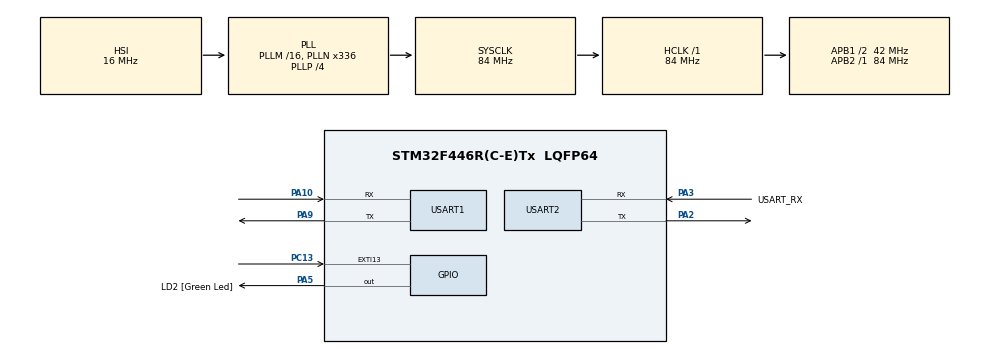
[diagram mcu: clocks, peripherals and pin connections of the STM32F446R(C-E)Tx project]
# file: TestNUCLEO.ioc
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Mcu.Family=STM32F4
Mcu.Name=STM32F446R(C-E)Tx
Mcu.Package=LQFP64
NVIC.EXTI15_10_IRQn=true\:0\:0\:false\:false\:true\:true\:true\:true
NVIC.PriorityGroup=NVIC_PRIORITYGROUP_0
NVIC.USART1_IRQn=true\:0\:0\:false\:false\:true\:true\:true\:true
NVIC.USART2_IRQn=true\:0\:0\:false\:false\:true\:true\:true\:true
PA10.Mode=Asynchronous
PA10.Signal=USART1_RX
PA13.GPIO_Label=TMS
PA13.Signal=SYS_JTMS-SWDIO
PA14.GPIO_Label=TCK
PA14.Signal=SYS_JTCK-SWCLK
PA2.Mode=Asynchronous
PA2.Signal=USART2_TX
PA3.GPIO_Label=USART_RX
PA3.Mode=Asynchronous
PA3.Signal=USART2_RX
PA5.GPIO_Label=LD2 [Green Led]
PA5.Signal=GPIO_Output
PA9.Mode=Asynchronous
PA9.Signal=USART1_TX
PB3.GPIO_Label=SWO
PB3.Signal=SYS_JTDO-SWO
PC13.Signal=GPXTI13
PC14-OSC32_IN.Signal=RCC_OSC32_IN
PC15-OSC32_OUT.Signal=RCC_OSC32_OUT
PH0-OSC_IN.Signal=RCC_OSC_IN
PH1-OSC_OUT.Signal=RCC_OSC_OUT
ProjectManager.HeapSize=0x200
ProjectManager.StackSize=0x400
ProjectManager.TargetToolchain=CMake
RCC.AHBFreq_Value=84000000
RCC.APB1CLKDivider=RCC_HCLK_DIV2
RCC.APB1Freq_Value=42000000
RCC.APB1TimFreq_Value=84000000
RCC.APB2Freq_Value=84000000
RCC.APB2TimFreq_Value=84000000
RCC.CortexFreq_Value=84000000
RCC.FLatency-AdvancedSettings=FLASH_LATENCY_2
RCC.HCLKFreq_Value=84000000
RCC.HSE_VALUE=8000000
RCC.HSI_VALUE=16000000
RCC.LSE_VALUE=32768
RCC.PLLN=336
RCC.PLLP=RCC_PLLP_DIV4
RCC.SYSCLKFreq_VALUE=84000000
RCC.SYSCLKSource=RCC_SYSCLKSOURCE_PLLCLK
RCC.USBFreq_Value=168000000
RCC.VCOOutputFreq_Value=336000000
USART1.VirtualMode=VM_ASYNC
USART2.VirtualMode=VM_ASYNC
board=NUCLEO-F446RE

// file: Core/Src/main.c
/* USER CODE BEGIN Header */
/**
  ******************************************************************************
  * @file           : main.c
  * @brief          : Main program body
  ******************************************************************************
  */
/* USER CODE END Header */
#include "main.h"

/* USER CODE BEGIN Includes */
#include "icd.h"
#include <string.h>
#include <stdio.h>
/* USER CODE END Includes */

/* USER CODE BEGIN PTD */
typedef enum {
    NODE_ROLE_UNASSIGNED = 0,
    NODE_ROLE_MASTER,
    NODE_ROLE_SLAVE,
    NODE_ROLE_LAST_SLAVE
} NodeRole_t;

typedef enum {
    LED_MODE_WAIT_INIT, // Clignote lentement
    LED_MODE_SYNC,      // Allumee
    LED_MODE_ERROR      // Clignote vite
} LedState_t;
/* USER CODE END PTD */

UART_HandleTypeDef huart1;
UART_HandleTypeDef huart2;

/* USER CODE BEGIN PV */
// Etat du noeud par défaut, on clignote en attendant, la clé 0 etc..
NodeRole_t current_role = NODE_ROLE_UNASSIGNED;
LedState_t current_led_mode = LED_MODE_WAIT_INIT;
uint32_t   current_key = 0;
uint32_t   my_id = HAL_GetUIDw0();; // ID de la carte, à changer pour prendre le vrai ID

// Compteur du bouton
volatile uint8_t  button_press_count = 0;
volatile uint32_t last_button_time = 0;

// Octets recus en interruption
uint8_t rx1_byte;
uint8_t rx2_byte;

// Buffers separes pour les deux UART
static uint8_t rx1_buffer[sizeof(ProtocolMessage_t)];
static uint8_t rx1_index = 0;
static uint8_t rx1_receiving = 0;

static uint8_t rx2_buffer[sizeof(ProtocolMessage_t)];
static uint8_t rx2_index = 0;
static uint8_t rx2_receiving = 0;
/* USER CODE END PV */

void SystemClock_Config(void);
static void MX_GPIO_Init(void);
static void MX_USART2_UART_Init(void);
static void MX_USART1_UART_Init(void);
/* USER CODE BEGIN PFP */
uint16_t compute_crc16(const uint8_t *data, uint16_t length);
void xor_cipher(uint8_t *payload, uint8_t len, uint32_t key);
void process_received_frame(ProtocolMessage_t *msg, UART_HandleTypeDef *source_huart);
/* USER CODE END PFP */

/* USER CODE BEGIN 0 */
// fonction crc16 générée à l'aide de l'ia, fonction générique de checksum
uint16_t compute_crc16(const uint8_t *data, uint16_t length) {
    uint16_t crc = 0xFFFF;
    for (uint16_t i = 0; i < length; i++) {
        crc ^= (uint16_t)data[i] << 8;
        for (uint8_t j = 0; j < 8; j++) {
            if (crc & 0x8000)
                crc = (crc << 1) ^ 0x1021;
            else
                crc = crc << 1;
        }
    }
    return crc;
}

// généré à l'aide de l'ia, pour cryptage
void xor_cipher(uint8_t *payload, uint8_t len, uint32_t key) {
    uint8_t key_bytes[4];
    key_bytes[0] = (uint8_t)(key & 0xFF);
    key_bytes[1] = (uint8_t)((key >> 8) & 0xFF);
    key_bytes[2] = (uint8_t)((key >> 16) & 0xFF);
    key_bytes[3] = (uint8_t)((key >> 24) & 0xFF);

    for (uint8_t i = 0; i < len; i++) {
        payload[i] ^= key_bytes[i % 4];
    }
}

//Fonction pour recevoir les trames reçu
void process_received_frame(ProtocolMessage_t *msg, UART_HandleTypeDef *source_huart) {
    uint16_t expected_len = sizeof(ProtocolMessage_t) - sizeof(uint16_t);
    uint16_t local_crc = compute_crc16((uint8_t*)msg, expected_len);

    // Verifie le CRC des messages UART1 -> vérifier l'intégrité du message
    if (source_huart == &huart1) {
        if (local_crc != msg->crc) {
            current_led_mode = LED_MODE_ERROR; // Erreur CRC, clignotement rapide
            return;
        }
    }

    switch (msg->header.command_type) {
        case CMD_INIT:
            if (msg->header.id_src == DEFAULT_ID) {
                // cas ou on est master, car on reçoit un message avec src_id 0x00
                current_role = NODE_ROLE_MASTER;
                current_key = HAL_GetTick() ^ 0xA5A5A5A5;
                if (current_key == 0) current_key = 0x12345678;
                current_led_mode = LED_MODE_SYNC;

                // Propagation de l'INIT vers la carte suivante
                ProtocolMessage_t out_msg;
                memset(&out_msg, 0, sizeof(out_msg));
                out_msg.header.start_byte = ICD_START_BYTE;
                out_msg.header.command_type = CMD_INIT;
                out_msg.header.id_src = my_id;
                out_msg.header.length = 4;
                memcpy(out_msg.payload, &current_key, 4);
                out_msg.crc = compute_crc16((uint8_t*)&out_msg, expected_len);
                HAL_UART_Transmit(&huart1, (uint8_t*)&out_msg, sizeof(out_msg), 100);
            }
            else {
                // --- ESCLAVE (Réception de l'INIT) ---
                // On suppose qu'on est le DERNIER par défaut (car c'est plus simple)
                current_role = NODE_ROLE_LAST_SLAVE;
                memcpy(&current_key, msg->payload, 4);
                current_led_mode = LED_MODE_SYNC;

                // On répond un ACK au noeud précédent pour confirmer la synchro
                ProtocolMessage_t ack_msg;
                memset(&ack_msg, 0, sizeof(ack_msg));
                ack_msg.header.start_byte = ICD_START_BYTE;
                ack_msg.header.command_type = CMD_ACK;
                ack_msg.header.id_src = my_id;
                ack_msg.crc = compute_crc16((uint8_t*)&ack_msg, expected_len);
                HAL_UART_Transmit(source_huart, (uint8_t*)&ack_msg, sizeof(ack_msg), 100);

                // On propage l'INIT vers l'avant (pour interroger s'il y a un noeud suivant)
                msg->header.id_src = my_id;
                msg->crc = compute_crc16((uint8_t*)msg, expected_len);
                HAL_UART_Transmit(&huart1, (uint8_t*)msg, sizeof(ProtocolMessage_t), 100);
            }
            break;

        case CMD_MSG: // ici on vérifie si on est la derniere carte ou pas, en envoyant un message au noeud suivant
                    // si retour ACK avec id null => pc donc on est le dernier noeud, sinon il y a encore des cartes derriere
            // MAÎTRE : Reçoit le texte en clair du PC, chiffre et relaye
            if (source_huart == &huart2 && current_role == NODE_ROLE_MASTER) {
                xor_cipher(msg->payload, msg->header.length, current_key);
                msg->header.id_src = my_id;
                msg->crc = compute_crc16((uint8_t*)msg, expected_len);
                HAL_UART_Transmit(&huart1, (uint8_t*)msg, sizeof(ProtocolMessage_t), 100);
            }
            // DERNIER ESCLAVE : Déchiffre et envoie vers le PC OUT
            else if (source_huart == &huart1 && current_role == NODE_ROLE_LAST_SLAVE) {
                xor_cipher(msg->payload, msg->header.length, current_key); // Déchiffrement

                char log_buffer[64];
                snprintf(log_buffer, sizeof(log_buffer), "\r\n[PC OUT RECU] : %.*s\r\n",
                         msg->header.length, msg->payload);
                HAL_UART_Transmit(&huart2, (uint8_t*)log_buffer, strlen(log_buffer), 100);
            }
            // ESCLAVE INTERMÉDIAIRE : Relaye le message chiffré sans le déchiffrer
            else if (source_huart == &huart1 && current_role == NODE_ROLE_SLAVE) {
                msg->header.id_src = my_id;
                // /!\ On ne déchiffre PAS le payload
                msg->crc = compute_crc16((uint8_t*)msg, expected_len);
                HAL_UART_Transmit(&huart1, (uint8_t*)msg, sizeof(ProtocolMessage_t), 100);
            }

            // Quel que soit le type d'esclave, on accuse réception au noeud N-1
            if (source_huart == &huart1) {
                ProtocolMessage_t ack_msg;
                memset(&ack_msg, 0, sizeof(ack_msg));
                ack_msg.header.start_byte = ICD_START_BYTE;
                ack_msg.header.command_type = CMD_ACK;
                ack_msg.header.id_src = my_id;
                ack_msg.crc = compute_crc16((uint8_t*)&ack_msg, expected_len);
                HAL_UART_Transmit(&huart1, (uint8_t*)&ack_msg, sizeof(ack_msg), 100);
            }
            break;

            case CMD_ACK:
            // L'interrogation : On a reçu une réponse du noeud suivant !
            if (current_role == NODE_ROLE_LAST_SLAVE) {
                if (msg->header.id_src != DEFAULT_ID) {
                    // Une vraie carte a répondu avec son ID : on n'est donc PAS le dernier !
                    current_role = NODE_ROLE_SLAVE;
                }
            }
            break;

        default:
            break;
    }
}
/* USER CODE END 0 */

int main(void)
{
  /* MCU Configuration--------------------------------------------------------*/
  HAL_Init();
  SystemClock_Config();

  /* Initialize all configured peripherals */
  MX_GPIO_Init();
  MX_USART2_UART_Init();
  MX_USART1_UART_Init();

  /* USER CODE BEGIN 2 */
  // Demarre la reception UART
  HAL_UART_Receive_IT(&huart2, &rx2_byte, 1);
  HAL_UART_Receive_IT(&huart1, &rx1_byte, 1);
  /* USER CODE END 2 */

  /* Infinite loop */
  /* USER CODE BEGIN WHILE */
  uint32_t last_led_toggle = 0;

  while (1)
  {
    uint32_t now = HAL_GetTick();

    // Reset apres 3 appuis (bouton bleu)
    if (button_press_count > 0 && (now - last_button_time > 1500)) {
        if (button_press_count >= 3) {
            current_led_mode = LED_MODE_WAIT_INIT;
            current_key = 0;
            current_role = NODE_ROLE_UNASSIGNED;
        }
        button_press_count = 0;
    }

    // Gestion de la LED LD2
    switch (current_led_mode) {
        case LED_MODE_WAIT_INIT: // Clignotement lent
            if (now - last_led_toggle >= 1000) {
                HAL_GPIO_TogglePin(GPIOA, GPIO_PIN_5);
                last_led_toggle = now;
            }
            break;

        case LED_MODE_SYNC: // LED allumee
            HAL_GPIO_WritePin(GPIOA, GPIO_PIN_5, GPIO_PIN_SET);
            break;

        case LED_MODE_ERROR: // Clignotement rapide
            if (now - last_led_toggle >= 100) {
                HAL_GPIO_TogglePin(GPIOA, GPIO_PIN_5);
                last_led_toggle = now;
            }
            break;
    }
    /* USER CODE END WHILE */

  }
}

void SystemClock_Config(void)
{
  RCC_OscInitTypeDef RCC_OscInitStruct = {0};
  RCC_ClkInitTypeDef RCC_ClkInitStruct = {0};

  __HAL_RCC_PWR_CLK_ENABLE();
  __HAL_PWR_VOLTAGESCALING_CONFIG(PWR_REGULATOR_VOLTAGE_SCALE3);

  RCC_OscInitStruct.OscillatorType = RCC_OSCILLATORTYPE_HSI;
  RCC_OscInitStruct.HSIState = RCC_HSI_ON;
  RCC_OscInitStruct.HSICalibrationValue = RCC_HSICALIBRATION_DEFAULT;
  RCC_OscInitStruct.PLL.PLLState = RCC_PLL_ON;
  RCC_OscInitStruct.PLL.PLLSource = RCC_PLLSOURCE_HSI;
  RCC_OscInitStruct.PLL.PLLM = 16;
  RCC_OscInitStruct.PLL.PLLN = 336;
  RCC_OscInitStruct.PLL.PLLP = RCC_PLLP_DIV4;
  RCC_OscInitStruct.PLL.PLLQ = 2;
  RCC_OscInitStruct.PLL.PLLR = 2;
  if (HAL_RCC_OscConfig(&RCC_OscInitStruct) != HAL_OK)
  {
    Error_Handler();
  }

  RCC_ClkInitStruct.ClockType = RCC_CLOCKTYPE_HCLK|RCC_CLOCKTYPE_SYSCLK
                              |RCC_CLOCKTYPE_PCLK1|RCC_CLOCKTYPE_PCLK2;
  RCC_ClkInitStruct.SYSCLKSource = RCC_SYSCLKSOURCE_PLLCLK;
  RCC_ClkInitStruct.AHBCLKDivider = RCC_SYSCLK_DIV1;
  RCC_ClkInitStruct.APB1CLKDivider = RCC_HCLK_DIV2;
  RCC_ClkInitStruct.APB2CLKDivider = RCC_HCLK_DIV1;

  if (HAL_RCC_ClockConfig(&RCC_ClkInitStruct, FLASH_LATENCY_2) != HAL_OK)
  {
    Error_Handler();
  }
}

static void MX_USART1_UART_Init(void)
{
  huart1.Instance = USART1;
  huart1.Init.BaudRate = 115200;
  huart1.Init.WordLength = UART_WORDLENGTH_8B;
  huart1.Init.StopBits = UART_STOPBITS_1;
  huart1.Init.Parity = UART_PARITY_NONE;
  huart1.Init.Mode = UART_MODE_TX_RX;
  huart1.Init.HwFlowCtl = UART_HWCONTROL_NONE;
  huart1.Init.OverSampling = UART_OVERSAMPLING_16;
  if (HAL_UART_Init(&huart1) != HAL_OK)
  {
    Error_Handler();
  }
}

static void MX_USART2_UART_Init(void)
{
  huart2.Instance = USART2;
  huart2.Init.BaudRate = 115200;
  huart2.Init.WordLength = UART_WORDLENGTH_8B;
  huart2.Init.StopBits = UART_STOPBITS_1;
  huart2.Init.Parity = UART_PARITY_NONE;
  huart2.Init.Mode = UART_MODE_TX_RX;
  huart2.Init.HwFlowCtl = UART_HWCONTROL_NONE;
  huart2.Init.OverSampling = UART_OVERSAMPLING_16;
  if (HAL_UART_Init(&huart2) != HAL_OK)
  {
    Error_Handler();
  }
}

static void MX_GPIO_Init(void)
{
  GPIO_InitTypeDef GPIO_InitStruct = {0};

  __HAL_RCC_GPIOC_CLK_ENABLE();
  __HAL_RCC_GPIOH_CLK_ENABLE();
  __HAL_RCC_GPIOA_CLK_ENABLE();
  __HAL_RCC_GPIOB_CLK_ENABLE();

  HAL_GPIO_WritePin(LD2_GPIO_Port, LD2_Pin, GPIO_PIN_RESET);

  /* PC13 (User button) */
  GPIO_InitStruct.Pin = GPIO_PIN_13;
  GPIO_InitStruct.Mode = GPIO_MODE_IT_RISING;
  GPIO_InitStruct.Pull = GPIO_NOPULL;
  HAL_GPIO_Init(GPIOC, &GPIO_InitStruct);

  /* PA5 (LD2 LED) */
  GPIO_InitStruct.Pin = LD2_Pin;
  GPIO_InitStruct.Mode = GPIO_MODE_OUTPUT_PP;
  GPIO_InitStruct.Pull = GPIO_NOPULL;
  GPIO_InitStruct.Speed = GPIO_SPEED_FREQ_LOW;
  HAL_GPIO_Init(LD2_GPIO_Port, &GPIO_InitStruct);

  HAL_NVIC_SetPriority(EXTI15_10_IRQn, 0, 0);
  HAL_NVIC_EnableIRQ(EXTI15_10_IRQn);
}

/* USER CODE BEGIN 4 */
void HAL_GPIO_EXTI_Callback(uint16_t GPIO_Pin) {
    if (GPIO_Pin == GPIO_PIN_13) {
        uint32_t now = HAL_GetTick();
        if (now - last_button_time > 200) {
            button_press_count++;
            last_button_time = now;
        }
    }
}

void HAL_UART_RxCpltCallback(UART_HandleTypeDef *huart) {
    if (huart == &huart2) {
        if (!rx2_receiving) {
            if (rx2_byte == ICD_START_BYTE) {
                rx2_receiving = 1;
                rx2_index = 0;
                rx2_buffer[rx2_index++] = rx2_byte;
            }
        } else {
            rx2_buffer[rx2_index++] = rx2_byte;
            if (rx2_index >= sizeof(ProtocolMessage_t)) {
                rx2_receiving = 0;
                process_received_frame((ProtocolMessage_t*)rx2_buffer, &huart2);
            }
        }
        HAL_UART_Receive_IT(&huart2, &rx2_byte, 1);
    }
    else if (huart == &huart1) {
        if (!rx1_receiving) {
            if (rx1_byte == ICD_START_BYTE) {
                rx1_receiving = 1;
                rx1_index = 0;
                rx1_buffer[rx1_index++] = rx1_byte;
            }
        } else {
            rx1_buffer[rx1_index++] = rx1_byte;
            if (rx1_index >= sizeof(ProtocolMessage_t)) {
                rx1_receiving = 0;
                process_received_frame((ProtocolMessage_t*)rx1_buffer, &huart1);
            }
        }
        HAL_UART_Receive_IT(&huart1, &rx1_byte, 1);
    }
}

void HAL_UART_ErrorCallback(UART_HandleTypeDef *huart) {
    if (huart == &huart2) {
        __HAL_UART_CLEAR_OREFLAG(&huart2);
        HAL_UART_Receive_IT(&huart2, &rx2_byte, 1);
    } else if (huart == &huart1) {
        __HAL_UART_CLEAR_OREFLAG(&huart1);
        HAL_UART_Receive_IT(&huart1, &rx1_byte, 1);
    }
}
/* USER CODE END 4 */

void Error_Handler(void)
{
  __disable_irq();
  while (1)
  {
  }
}
